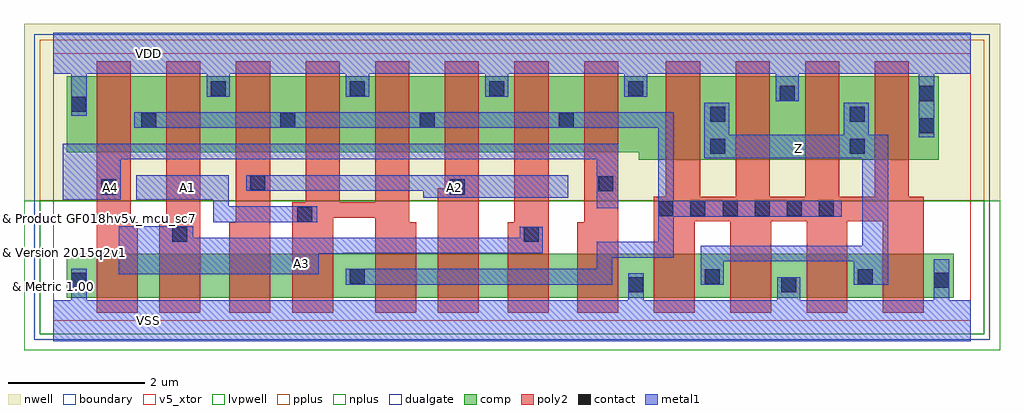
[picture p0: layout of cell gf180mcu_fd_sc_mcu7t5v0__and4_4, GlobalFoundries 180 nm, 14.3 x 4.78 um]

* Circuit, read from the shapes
.subckt gf180mcu_fd_sc_mcu7t5v0__and4_4 A1 A2 A3 A4 VDD VSS Z
XM1 n1 A4 VSS VSUBS nfet_05v0 w=0.645u l=0.6u
XM2 n2 A3 n1 VSUBS nfet_05v0 w=0.645u l=0.6u
XM3 n3 A2 n2 VSUBS nfet_05v0 w=0.645u l=0.6u
XM4 n4 A1 n3 VSUBS nfet_05v0 w=0.645u l=0.6u
XM5 n5 A1 n4 VSUBS nfet_05v0 w=0.645u l=0.6u
XM6 n6 A2 n5 VSUBS nfet_05v0 w=0.645u l=0.6u
XM7 n7 A3 n6 VSUBS nfet_05v0 w=0.645u l=0.6u
XM8 VSS A4 n7 VSUBS nfet_05v0 w=0.645u l=0.6u
XM9 Z n4 VSS VSUBS nfet_05v0 w=0.645u l=0.6u m=4
XM10 n4 A4 VDD n8 pfet_05v0 w=1.11u l=0.5u m=2
XM11 VDD A3 n4 n8 pfet_05v0 w=1.11u l=0.5u m=2
XM12 n4 A2 VDD n8 pfet_05v0 w=1.11u l=0.5u m=2
XM13 VDD A1 n4 n8 pfet_05v0 w=1.11u l=0.5u m=2
XM14 Z n4 VDD n8 pfet_05v0 w=1.22u l=0.5u m=4
.ends

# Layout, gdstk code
import gdstk
lib = gdstk.Library(unit=1e-6, precision=1e-09)
def R(c, l, rs):  # rectangles x0, y0, x1, y1
    for r in rs: c.add(gdstk.rectangle(r[:2], r[2:], *l))
def A(c, l, x, y, w, h, nx, ny, dx, dy):  # array of equal rectangles
    R(c, l, [(x+i*dx, y+j*dy, x+i*dx+w, y+j*dy+h) for i in range(nx) for j in range(ny)])
def P(c, l, *ps):  # polygons
    for p in ps: c.add(gdstk.Polygon(p, *l))
boundary = (0, 0)
nwell = (21, 0)
comp = (22, 0)
poly2 = (30, 0)
pplus = (31, 0)
nplus = (32, 0)
contact = (33, 0)
metal1 = (34, 0)
dualgate = (55, 0)
v5_xtor = (112, 1)
lvpwell = (204, 0)

gf180mcu_fd_sc_mcu7t5v0_ = lib.new_cell('gf180mcu_fd_sc_mcu7t5v0__and4_4')
R(gf180mcu_fd_sc_mcu7t5v0_, boundary, [(0,0,13.44,3.92)])
R(gf180mcu_fd_sc_mcu7t5v0_, nwell, [(-0.43,1.76,13.87,4.35)])
R(gf180mcu_fd_sc_mcu7t5v0_, comp, [(0.195,0.34,13.195,0.985)])
P(gf180mcu_fd_sc_mcu7t5v0_, comp, [(8.575,2.36),(8.575,2.47),(0.195,2.47),(0.195,3.58),(12.975,3.58),(12.975,2.36)])
P(gf180mcu_fd_sc_mcu7t5v0_, poly2, [(0.635,0.12),(0.635,3.8),(1.135,3.8),(1.135,1.44),(1.235,1.44),(1.235,0.12)],
  [(1.555,0.12),(1.555,1.44),(1.655,1.44),(1.655,3.8),(2.155,3.8),(2.155,0.12)],
  [(2.575,0.12),(2.575,1.44),(2.675,1.44),(2.675,3.8),(3.175,3.8),(3.175,0.12)],
  [(3.5,0.12),(3.5,1.74),(3.695,1.74),(3.695,3.8),(4.195,3.8),(4.195,1.74),(4.715,1.74),(4.715,3.8),(5.215,3.8),(5.215,1.44),(5.315,1.44),(5.315,0.12),(4.715,0.12),(4.715,1.51),(4.1,1.51),(4.1,0.12)],
  [(5.635,0.12),(5.635,1.945),(5.735,1.945),(5.735,3.8),(6.235,3.8),(6.235,0.12)],
  [(6.655,0.12),(6.655,1.44),(6.755,1.44),(6.755,3.8),(7.255,3.8),(7.255,0.12)],
  [(7.675,0.12),(7.675,1.44),(7.775,1.44),(7.775,3.8),(8.275,3.8),(8.275,0.12)],
  [(8.795,0.12),(8.795,1.82),(8.975,1.82),(8.975,3.8),(9.475,3.8),(9.475,1.82),(9.995,1.82),(9.995,3.8),(10.495,3.8),(10.495,1.82),(11.015,1.82),(11.015,3.8),(11.515,3.8),(11.515,1.82),(12.035,1.82),(12.035,3.8),(12.535,3.8),(12.535,1.82),(12.755,1.82),(12.755,0.12),(12.155,0.12),(12.155,1.46),(11.635,1.46),(11.635,0.12),(11.035,0.12),(11.035,1.46),(10.515,1.46),(10.515,0.12),(9.915,0.12),(9.915,1.46),(9.395,1.46),(9.395,0.12)])
R(gf180mcu_fd_sc_mcu7t5v0_, pplus, [(-0.2,1.76,13.64,4.12)])
R(gf180mcu_fd_sc_mcu7t5v0_, nplus, [(-0.2,-0.2,13.64,1.76)])
A(gf180mcu_fd_sc_mcu7t5v0_, contact, 8.865, 1.53, 0.22, 0.22, 6, 1, 0.47, 0)
A(gf180mcu_fd_sc_mcu7t5v0_, contact, 1.285, 2.83, 0.22, 0.22, 4, 1, 2.04, 0)
A(gf180mcu_fd_sc_mcu7t5v0_, contact, 2.305, 3.29, 0.22, 0.22, 4, 1, 2.04, 0)
R(gf180mcu_fd_sc_mcu7t5v0_, contact, [(8.425,0.415,8.645,0.635), (10.665,0.415,10.885,0.635), (0.265,0.485,0.485,0.705), (12.905,0.485,13.125,0.705), (4.345,0.535,4.565,0.755), (9.545,0.535,9.765,0.755), (11.785,0.535,12.005,0.755), (1.74,1.155,1.96,1.375), (6.89,1.155,7.11,1.375), (3.57,1.45,3.79,1.67), (0.705,1.85,0.925,2.07), (5.805,1.85,6.025,2.07), (7.985,1.9,8.205,2.12), (2.885,1.91,3.105,2.13), (9.625,2.445,9.845,2.665), (11.665,2.445,11.885,2.665), (12.685,2.75,12.905,2.97), (9.625,2.915,9.845,3.135), (11.665,2.915,11.885,3.135), (0.265,3.065,0.485,3.285), (10.645,3.22,10.865,3.44), (12.685,3.22,12.905,3.44)])
P(gf180mcu_fd_sc_mcu7t5v0_, metal1, [(2.34,1.445),(2.34,1.77),(1.215,1.77),(1.215,2.135),(2.57,2.135),(2.57,1.675),(3.87,1.675),(3.87,1.445)],
  [(0.96,0.68),(0.96,1.385),(2.05,1.385),(2.05,1.215),(4.005,1.215),(4.005,1.22),(6.83,1.22),(6.83,1.38),(7.17,1.38),(7.17,0.99),(4.235,0.99),(4.235,0.985),(3.89,0.985),(3.89,0.68)],
  [(5.42,1.8),(5.42,1.905),(2.825,1.905),(2.825,2.135),(7.545,2.135),(7.545,1.8)],
  [(7.96,1.645),(7.96,2.365),(0.985,2.365),(0.985,1.77),(0.14,1.77),(0.14,2.595),(8.28,2.595),(8.28,1.645)],
  [(4.285,0.53),(4.285,0.76),(7.96,0.76),(7.96,1.155),(8.86,1.155),(8.86,2.825),(1.185,2.825),(1.185,3.055),(9.09,3.055),(9.09,1.755),(11.55,1.755),(11.55,1.525),(9.09,1.525),(9.09,0.925),(8.19,0.925),(8.19,0.53)],
  [(9.485,0.53),(9.485,1.1),(11.85,1.1),(11.85,2.38),(9.54,2.38),(9.54,3.195),(9.905,3.195),(9.905,2.725),(11.58,2.725),(11.58,3.195),(11.945,3.195),(11.945,2.725),(12.23,2.725),(12.23,0.53),(11.725,0.53),(11.725,0.87),(9.825,0.87),(9.825,0.53)],
  [(0,-0.3),(0,0.3),(0.26,0.3),(0.26,0.765),(0.49,0.765),(0.49,0.3),(8.42,0.3),(8.42,0.695),(8.65,0.695),(8.65,0.3),(10.605,0.3),(10.605,0.64),(10.945,0.64),(10.945,0.3),(12.9,0.3),(12.9,0.905),(13.13,0.905),(13.13,0.3),(13.44,0.3),(13.44,-0.3)],
  [(12.68,2.69),(12.68,3.62),(10.925,3.62),(10.925,3.215),(10.585,3.215),(10.585,3.62),(8.705,3.62),(8.705,3.285),(8.365,3.285),(8.365,3.62),(6.665,3.62),(6.665,3.285),(6.325,3.285),(6.325,3.62),(4.625,3.62),(4.625,3.285),(4.285,3.285),(4.285,3.62),(2.585,3.62),(2.585,3.285),(2.245,3.285),(2.245,3.62),(0.49,3.62),(0.49,3.005),(0.26,3.005),(0.26,3.62),(0,3.62),(0,4.22),(13.44,4.22),(13.44,3.62),(12.91,3.62),(12.91,2.69)])
R(gf180mcu_fd_sc_mcu7t5v0_, dualgate, [(-0.28,-0.28,13.72,4.2)])
R(gf180mcu_fd_sc_mcu7t5v0_, v5_xtor, [(0,0,13.44,3.92)])
R(gf180mcu_fd_sc_mcu7t5v0_, lvpwell, [(-0.43,-0.43,13.87,1.76)])
gf180mcu_fd_sc_mcu7t5v0_.add(gdstk.Label('A2', (5.88,1.96), layer=34, texttype=10))
gf180mcu_fd_sc_mcu7t5v0_.add(gdstk.Label('A3', (3.64,0.84), layer=34, texttype=10))
gf180mcu_fd_sc_mcu7t5v0_.add(gdstk.Label('A4', (0.84,1.96), layer=34, texttype=10))
gf180mcu_fd_sc_mcu7t5v0_.add(gdstk.Label('VDD', (1.4,3.92), layer=34, texttype=10))
gf180mcu_fd_sc_mcu7t5v0_.add(gdstk.Label('VSS', (1.4,0), layer=34, texttype=10))
gf180mcu_fd_sc_mcu7t5v0_.add(gdstk.Label('Z', (10.92,2.52), layer=34, texttype=10))
gf180mcu_fd_sc_mcu7t5v0_.add(gdstk.Label('A1', (1.96,1.96), layer=34, texttype=10))
gf180mcu_fd_sc_mcu7t5v0_.add(gdstk.Label('& Vendor GLOBALFOUNDRIES', (0,2), layer=63, texttype=63))
gf180mcu_fd_sc_mcu7t5v0_.add(gdstk.Label('& Product GF018hv5v_mcu_sc7', (0,1.5), layer=63, texttype=63))
gf180mcu_fd_sc_mcu7t5v0_.add(gdstk.Label('& Version 2015q2v1', (0,1), layer=63, texttype=63))
gf180mcu_fd_sc_mcu7t5v0_.add(gdstk.Label('& Metric 1.00', (0,0.5), layer=63, texttype=63))

lib.write_gds('gf180mcu_fd_sc_mcu7t5v0__and4_4.gds')
